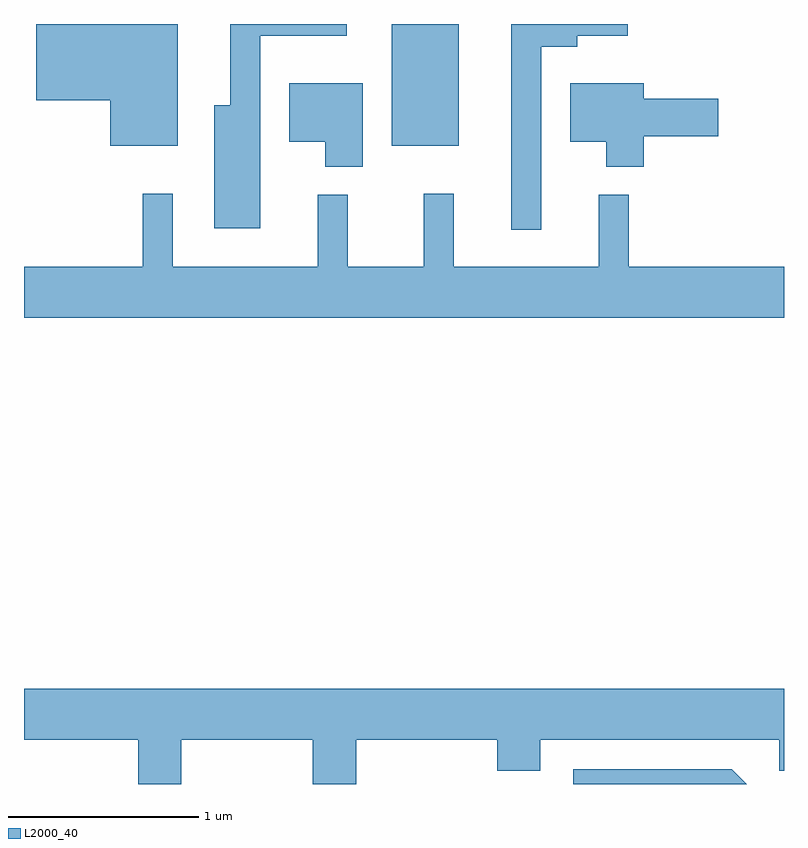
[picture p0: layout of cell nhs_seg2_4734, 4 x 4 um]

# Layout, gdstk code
import gdstk
lib = gdstk.Library(unit=1e-6, precision=1e-09)
def R(c, l, rs):  # rectangles x0, y0, x1, y1
    for r in rs: c.add(gdstk.rectangle(r[:2], r[2:], *l))
def P(c, l, *ps):  # polygons
    for p in ps: c.add(gdstk.Polygon(p, *l))
L2000_40 = (2000, 40)

nhs_seg2_4734 = lib.new_cell('nhs_seg2_4734')
R(nhs_seg2_4734, L2000_40, [(325.546,1109.161,325.899,1109.802)])
P(nhs_seg2_4734, L2000_40, [(324.854,1109.741),(325.309,1109.741),(325.309,1109.802),(324.696,1109.802),(324.696,1109.374),(324.611,1109.374),(324.611,1108.726),(324.854,1108.726)],
  [(324.419,1109.802),(323.676,1109.802),(323.676,1109.401),(324.066,1109.401),(324.066,1109.161),(324.419,1109.161)],
  [(326.334,1109.681),(326.524,1109.681),(326.524,1109.741),(326.789,1109.741),(326.789,1109.802),(326.176,1109.802),(326.176,1108.718),(326.334,1108.718)],
  [(325.394,1109.489),(325.006,1109.489),(325.006,1109.181),(325.196,1109.181),(325.196,1109.051),(325.394,1109.051)],
  [(326.874,1109.211),(327.264,1109.211),(327.264,1109.409),(326.874,1109.409),(326.874,1109.489),(326.486,1109.489),(326.486,1109.181),(326.676,1109.181),(326.676,1109.051),(326.874,1109.051)],
  [(327.611,1108.524),(326.794,1108.524),(326.794,1108.903),(326.636,1108.903),(326.636,1108.524),(325.874,1108.524),(325.874,1108.908),(325.716,1108.908),(325.716,1108.524),(325.314,1108.524),(325.314,1108.903),(325.156,1108.903),(325.156,1108.524),(324.394,1108.524),(324.394,1108.908),(324.236,1108.908),(324.236,1108.524),(323.611,1108.524),(323.611,1108.256),(327.611,1108.256)],
  [(324.439,1106.036),(325.131,1106.036),(325.131,1105.802),(325.359,1105.802),(325.359,1106.036),(326.101,1106.036),(326.101,1105.871),(326.329,1105.871),(326.329,1106.036),(327.586,1106.036),(327.586,1105.871),(327.611,1105.871),(327.611,1106.304),(323.611,1106.304),(323.611,1106.036),(324.211,1106.036),(324.211,1105.802),(324.439,1105.802)],
  [(327.337,1105.879),(326.501,1105.879),(326.501,1105.802),(327.414,1105.802)])

lib.write_gds('nhs_seg2_4734.gds')
